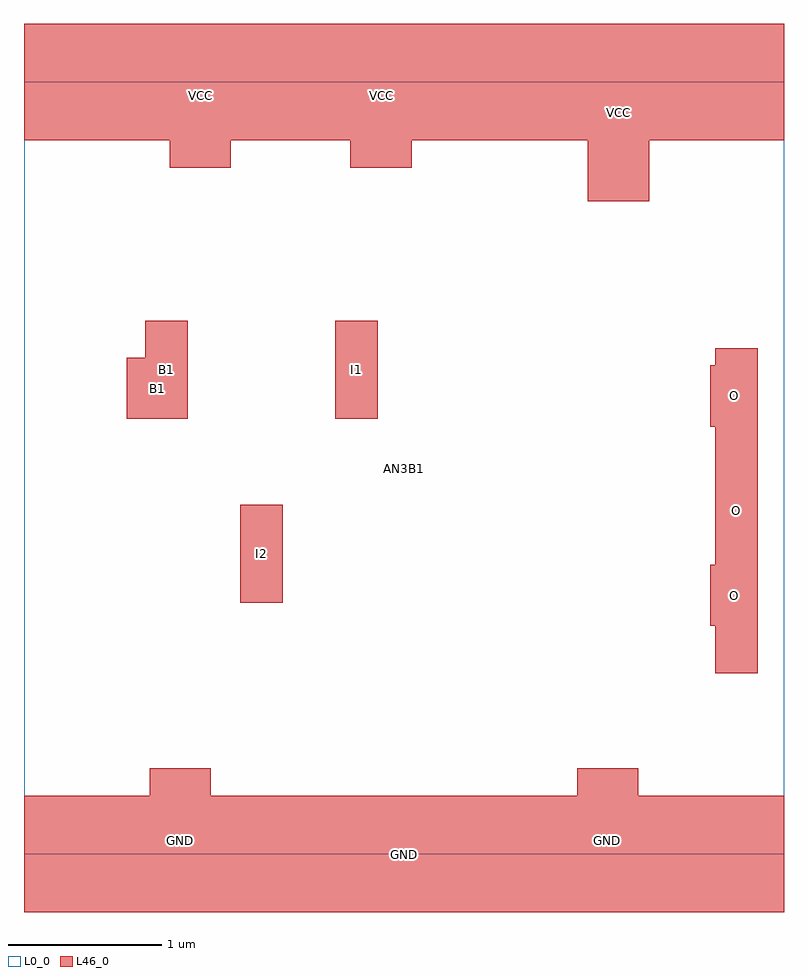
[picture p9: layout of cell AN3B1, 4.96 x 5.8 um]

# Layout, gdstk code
import gdstk
lib = gdstk.Library(unit=1e-6, precision=1e-09)
def R(c, l, rs):  # rectangles x0, y0, x1, y1
    for r in rs: c.add(gdstk.rectangle(r[:2], r[2:], *l))
L0_0 = (0, 0)
L46_0 = (46, 0)

an3b1 = lib.new_cell('AN3B1')
R(an3b1, L0_0, [(0,0,4.96,5.04)])
R(an3b1, L46_0, [(0,-0.38,4.96,0.38), (0.82,-0.38,1.22,0.56), (3.61,-0.38,4.01,0.56), (4.51,1.18,4.79,3.3), (4.48,1.49,4.79,1.89), (1.41,1.64,1.69,2.28), (4.48,2.79,4.79,3.19), (0.67,2.84,1.07,3.24), (0.79,2.84,1.07,3.48), (2.03,2.84,2.31,3.48), (3.68,4.26,4.08,5.42), (0.95,4.48,1.35,5.42), (2.13,4.48,2.53,5.42), (0,4.66,4.96,5.42)])
an3b1.add(gdstk.Label('AN3B1', (2.48,2.52), layer=0, texttype=0))
an3b1.add(gdstk.Label('O', (4.635,2.99), layer=101, texttype=0))
an3b1.add(gdstk.Label('O', (4.65,2.24), layer=101, texttype=0))
an3b1.add(gdstk.Label('O', (4.635,1.69), layer=101, texttype=0))
an3b1.add(gdstk.Label('I2', (1.55,1.96), layer=101, texttype=0))
an3b1.add(gdstk.Label('I1', (2.17,3.16), layer=101, texttype=0))
an3b1.add(gdstk.Label('B1', (0.93,3.16), layer=101, texttype=0))
an3b1.add(gdstk.Label('B1', (0.87,3.04), layer=101, texttype=0))
an3b1.add(gdstk.Label('GND', (3.81,0.09), layer=101, texttype=0))
an3b1.add(gdstk.Label('GND', (2.48,0), layer=101, texttype=0))
an3b1.add(gdstk.Label('GND', (1.02,0.09), layer=101, texttype=0))
an3b1.add(gdstk.Label('VCC', (2.33,4.95), layer=101, texttype=0))
an3b1.add(gdstk.Label('VCC', (3.88,4.84), layer=101, texttype=0))
an3b1.add(gdstk.Label('VCC', (2.48,5.04), layer=101, texttype=0))
an3b1.add(gdstk.Label('VCC', (1.15,4.95), layer=101, texttype=0))

lib.write_gds('AN3B1.gds')
